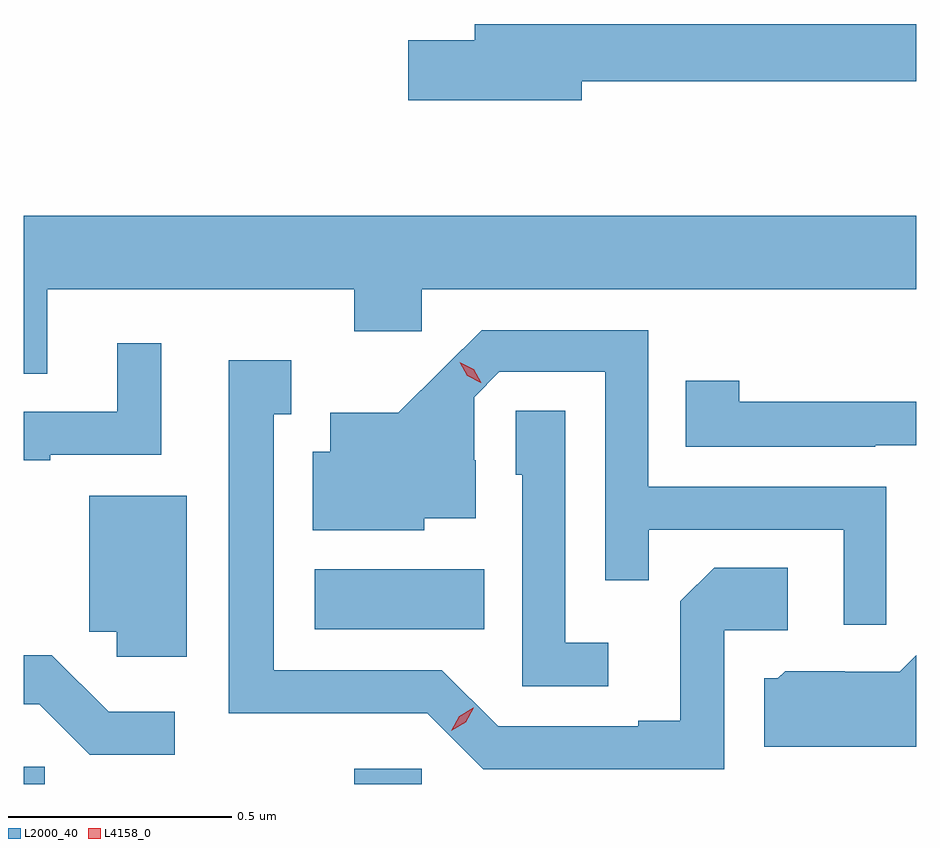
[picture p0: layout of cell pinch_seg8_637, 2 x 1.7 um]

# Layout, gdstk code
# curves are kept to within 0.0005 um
import gdstk
lib = gdstk.Library(unit=1e-6, precision=1e-09)
def R(c, l, rs):  # rectangles x0, y0, x1, y1
    for r in rs: c.add(gdstk.rectangle(r[:2], r[2:], *l))
def P(c, l, *ps):  # polygons
    for p in ps: c.add(gdstk.Polygon(p, *l))
L2000_40 = (2000, 40)
L4158_0 = (4158, 0)

pinch_seg8_637 = lib.new_cell('pinch_seg8_637')
R(pinch_seg8_637, L2000_40, [(203.102,1083.423,203.149,1083.462), (203.843,1083.423,203.994,1083.457), (203.754,1083.77,204.134,1083.904)])
P(pinch_seg8_637, L2000_40, [(204.352,1084.998),(205.102,1084.998),(205.102,1085.126),(204.113,1085.126),(204.113,1085.09),(203.964,1085.09),(203.964,1084.955),(204.352,1084.955)],
  [(203.155,1084.532),(203.843,1084.532),(203.843,1084.437),(203.994,1084.437),(203.994,1084.532),(205.102,1084.532),(205.102,1084.696),(203.102,1084.696),(203.102,1084.342),(203.155,1084.342)],
  [(205.035,1084.089),(204.501,1084.089),(204.501,1084.44),(204.128,1084.44),(203.941,1084.255),(203.789,1084.255),(203.789,1084.168),(203.75,1084.168),(203.75,1083.992),(204,1083.992),(204,1084.019),(204.115,1084.019),(204.115,1084.148),(204.111,1084.148),(204.111,1084.29),(204.168,1084.347),(204.405,1084.347),(204.405,1083.88),(204.503,1083.88),(204.503,1083.993),(204.939,1083.993),(204.939,1083.78),(205.035,1083.78)],
  [(203.161,1084.161),(203.41,1084.161),(203.41,1084.411),(203.312,1084.411),(203.312,1084.257),(203.102,1084.257),(203.102,1084.149),(203.161,1084.149)],
  [(204.672,1083.768),(204.814,1083.768),(204.814,1083.908),(204.649,1083.908),(204.573,1083.832),(204.573,1083.565),(204.479,1083.565),(204.479,1083.552),(204.165,1083.552),(204.039,1083.678),(203.662,1083.678),(203.662,1084.251),(203.701,1084.251),(203.701,1084.372),(203.561,1084.372),(203.561,1083.581),(203.784,1083.581),(203.784,1083.582),(204.006,1083.582),(204.132,1083.456),(204.672,1083.456)],
  [(205.01,1084.182),(205.102,1084.182),(205.102,1084.279),(205.061,1084.279),(205.061,1084.28),(204.705,1084.28),(204.705,1084.327),(204.586,1084.327),(204.586,1084.179),(205.01,1084.179)],
  [(204.412,1083.739),(204.315,1083.739),(204.315,1084.259),(204.204,1084.259),(204.204,1084.116),(204.219,1084.116),(204.219,1083.642),(204.412,1083.642)],
  [(203.467,1084.069),(203.249,1084.069),(203.249,1083.764),(203.31,1083.764),(203.31,1083.708),(203.467,1083.708)],
  [(205.102,1083.712),(205.065,1083.675),(204.942,1083.675),(204.942,1083.676),(204.808,1083.676),(204.792,1083.66),(204.761,1083.66),(204.761,1083.506),(205.102,1083.506)],
  [(203.44,1083.585),(203.292,1083.585),(203.165,1083.712),(203.102,1083.712),(203.102,1083.602),(203.137,1083.602),(203.25,1083.489),(203.44,1083.489)])
P(pinch_seg8_637, L4158_0, [(204.126,1084.322),(204.096,1084.338),(204.079,1084.368),(204.079,1084.368),(204.079,1084.368),(204.11,1084.352),(204.127,1084.322),(204.127,1084.322)],
  [(204.06,1083.542),(204.06,1083.542),(204.078,1083.575),(204.109,1083.594),(204.11,1083.594),(204.11,1083.594),(204.092,1083.561),(204.06,1083.542)])

lib.write_gds('pinch_seg8_637.gds')
